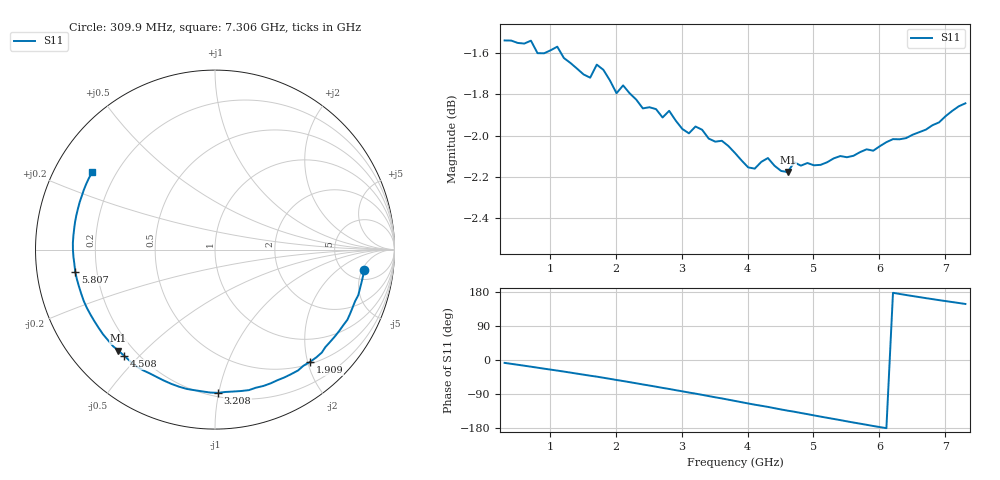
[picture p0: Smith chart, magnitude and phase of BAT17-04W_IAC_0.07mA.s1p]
! Infineon Technologies  Discrete & RF Semiconductors
! BAT17-04W
! IAC = 0.07 mA
! One-Port S-Parameters
# Hz  S  MA  R  50
!f  S11
!Hz  Mag  Ang
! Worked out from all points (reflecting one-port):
!   71 points, 309.9 MHz to 7.306 GHz, reference 50 ohm
!   lowest |S11| = -2.2 dB at 4.608 GHz (marker M1), VSWR 8.02, Z = 7.35 - j21 ohm
!   phase of S11 starts at -8 deg and turns -205 deg over the sweep
!   S11 on the Smith chart (normalised r, x): 309.9 MHz: 7.24, -5.41; 1.909 GHz: 0.54, -2.04; 3.208 GHz: 0.23, -1.00; 4.508 GHz: 0.15, -0.45; 5.807 GHz: 0.12, -0.08; 7.306 GHz: 0.11, +0.28
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3.0985e8  0.8378 -7.6
7.0965e8  0.8377 -17.6
1.10945e9  0.8349 -27.9
1.2094e9  0.8296 -30.5
1.6092e9  0.8205 -41.5
1.70915e9  0.8265 -43.9
1.90905e9  0.8193 -49.7
2.10895e9  0.817 -55.5
2.6087e9  0.8062 -70.4
2.8086e9  0.8054 -76.4
3.0085e9  0.7973 -82.7
3.2084e9  0.7984 -88.7
3.6082e9  0.792 -101.4
3.8081e9  0.7866 -108.0
4.10795e9  0.7798 -117.9
4.30785e9  0.7844 -123.8
4.50775e9  0.7788 -130.5
4.6077e9  0.7783 -133.7
4.70765e9  0.7826 -136.5
5.0075e9  0.7812 -146.2
5.2074e9  0.7826 -152.5
5.4073e9  0.7853 -158.7
5.6072e9  0.7854 -165.0
5.8071e9  0.7883 -171.0
6.2069e9  0.7928 177.3
6.50675e9  0.7947 168.7
7.0065e9  0.803 155.5
7.30635e9  0.8088 147.9
